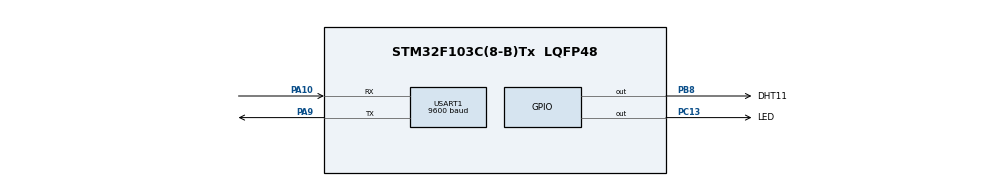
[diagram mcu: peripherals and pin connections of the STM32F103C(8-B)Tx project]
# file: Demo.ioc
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Mcu.Family=STM32F1
RCC.PLLSourceVirtual=RCC_PLLSOURCE_HSE
PD1-OSC_OUT.Mode=HSE-External-Clock-Source
PA10.Mode=Asynchronous
USART1.BaudRate=9600
PB8.GPIO_PuPd=GPIO_PULLUP
PC13-TAMPER-RTC.Signal=GPIO_Output
PD0-OSC_IN.Signal=RCC_OSC_IN
ProjectManager.StackSize=0x400
PD1-OSC_OUT.Signal=RCC_OSC_OUT
PA13.Signal=SYS_JTMS-SWDIO
PB8.GPIO_Label=DHT11
PA9.Mode=Asynchronous
ProjectManager.TargetToolchain=MDK-ARM V5.27
PA9.Signal=USART1_TX
RCC.USBFreq_Value=16000000
PD0-OSC_IN.Mode=HSE-External-Clock-Source
board=custom
PC13-TAMPER-RTC.GPIO_Label=LED
RCC.APB2Freq_Value=8000000
VP_TIM2_VS_ClockSourceINT.Mode=Internal
PA14.Mode=Serial_Wire
PB8.PinState=GPIO_PIN_SET
TIM2.Period=0xFFFF-1
PA13.Mode=Serial_Wire
Mcu.Name=STM32F103C(8-B)Tx
Mcu.Package=LQFP48
TIM2.Prescaler=7
PC13-TAMPER-RTC.GPIO_PuPd=GPIO_PULLUP
USART1.VirtualMode=VM_ASYNC
PA10.Signal=USART1_RX
PA14.Signal=SYS_JTCK-SWCLK
ProjectManager.HeapSize=0x200
NVIC.PriorityGroup=NVIC_PRIORITYGROUP_4
PB8.Signal=GPIO_Output
NVIC.USART1_IRQn=true\:1\:0\:true\:false\:true\:true\:true
RCC.APB1Freq_Value=8000000

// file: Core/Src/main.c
/* USER CODE BEGIN Header */
/**
  ******************************************************************************
  * @file           : main.c
  * @brief          : Main program body
  ******************************************************************************
  * @attention
  *
  * <h2><center>&copy; Copyright (c) 2021 STMicroelectronics.
  * All rights reserved.</center></h2>
  *
  * This software component is licensed by ST under BSD 3-Clause license,
  * the "License"; You may not use this file except in compliance with the
  * License. You may obtain a copy of the License at:
  *                        opensource.org/licenses/BSD-3-Clause
  *
  ******************************************************************************
  */
/* USER CODE END Header */
#include "main.h"
#include "tim.h"
#include "usart.h"
#include "gpio.h"

/* USER CODE BEGIN Includes */
#include "dht.h"
#include "Sim800.h"
/* USER CODE END Includes */

/* USER CODE BEGIN PM */
uint8_t Rh_byte1,Rh_byte2, Temp_byte1,Temp_byte2;
uint8_t SUM,RH,TEMP;
float Temperature ;
float Humidity;
/* USER CODE END PM */

/* USER CODE BEGIN PV */
char httpbuffer[200];

char Transfer_cplt2;
char Rx_Buffer2[SIMCOM_DATA_IN_MAX_SIZE];
/* USER CODE END PV */

void SystemClock_Config(void);

/* USER CODE BEGIN 0 */
void BlinkLed( void )
{
	for (int8_t i=0; i<2;i++)
	{
		HAL_GPIO_TogglePin(LED_GPIO_Port,LED_Pin);
		HAL_Delay(500);
	}
}
void HAL_UART_RxCpltCallback(UART_HandleTypeDef *huart)
{
	if (huart-> Instance == USART1) // UART hien tai la uart1 SIM
	{
		simcom_receive_data_it();
	}
}
/* USER CODE END 0 */

int main(void)
{

  /* MCU Configuration--------------------------------------------------------*/

  /* Reset of all peripherals, Initializes the Flash interface and the Systick. */
  HAL_Init();

  /* Configure the system clock */
  SystemClock_Config();

  /* Initialize all configured peripherals */
  MX_GPIO_Init();
  MX_USART1_UART_Init();
  MX_TIM2_Init();
  /* USER CODE BEGIN 2 */
	HAL_TIM_Base_Start(&htim2);
	TurnUart();
  /* USER CODE END 2 */

  /* Infinite loop */
  while (1)
  {

    /* USER CODE BEGIN 3 */
	//	BlinkLed();
		DHT11();
		BlinkLed();
		uint32_t time=HAL_GetTick();
		while (HAL_GetTick() - time <2000)
		{

		}
		if (Sim_init()==1)
			{
				if (Sim_Bearer_Configure()==1)
					{
						//sprintf(httpbuffer,"api_key=OJ9LRR95G3TEALN4&field1=14&field2=15&field3=16&field4=17&field5=18\r\n");
						sprintf(httpbuffer,"api_key=A8EMOG8RUTZEIBZX&field1=%d.%d&field2=%d\r\n",Temp_byte1,Temp_byte2,RH);
						if (Sim_HTTP_Post(httpbuffer)==1)
						{

						}
						Sim_Bearer_Dis();
					}
			}
  }
  /* USER CODE END 3 */
}

void SystemClock_Config(void)
{
  RCC_OscInitTypeDef RCC_OscInitStruct = {0};
  RCC_ClkInitTypeDef RCC_ClkInitStruct = {0};

  /** Initializes the RCC Oscillators according to the specified parameters
  * in the RCC_OscInitTypeDef structure.
  */
  RCC_OscInitStruct.OscillatorType = RCC_OSCILLATORTYPE_HSI;
  RCC_OscInitStruct.HSIState = RCC_HSI_ON;
  RCC_OscInitStruct.HSICalibrationValue = RCC_HSICALIBRATION_DEFAULT;
  RCC_OscInitStruct.PLL.PLLState = RCC_PLL_NONE;
  if (HAL_RCC_OscConfig(&RCC_OscInitStruct) != HAL_OK)
  {
    Error_Handler();
  }
  /** Initializes the CPU, AHB and APB buses clocks
  */
  RCC_ClkInitStruct.ClockType = RCC_CLOCKTYPE_HCLK|RCC_CLOCKTYPE_SYSCLK
                              |RCC_CLOCKTYPE_PCLK1|RCC_CLOCKTYPE_PCLK2;
  RCC_ClkInitStruct.SYSCLKSource = RCC_SYSCLKSOURCE_HSI;
  RCC_ClkInitStruct.AHBCLKDivider = RCC_SYSCLK_DIV1;
  RCC_ClkInitStruct.APB1CLKDivider = RCC_HCLK_DIV1;
  RCC_ClkInitStruct.APB2CLKDivider = RCC_HCLK_DIV1;

  if (HAL_RCC_ClockConfig(&RCC_ClkInitStruct, FLASH_LATENCY_0) != HAL_OK)
  {
    Error_Handler();
  }
}

void Error_Handler(void)
{
  __disable_irq();
  while (1)
  {
  }
}

/************************ (C) COPYRIGHT STMicroelectronics *****END OF FILE****/
